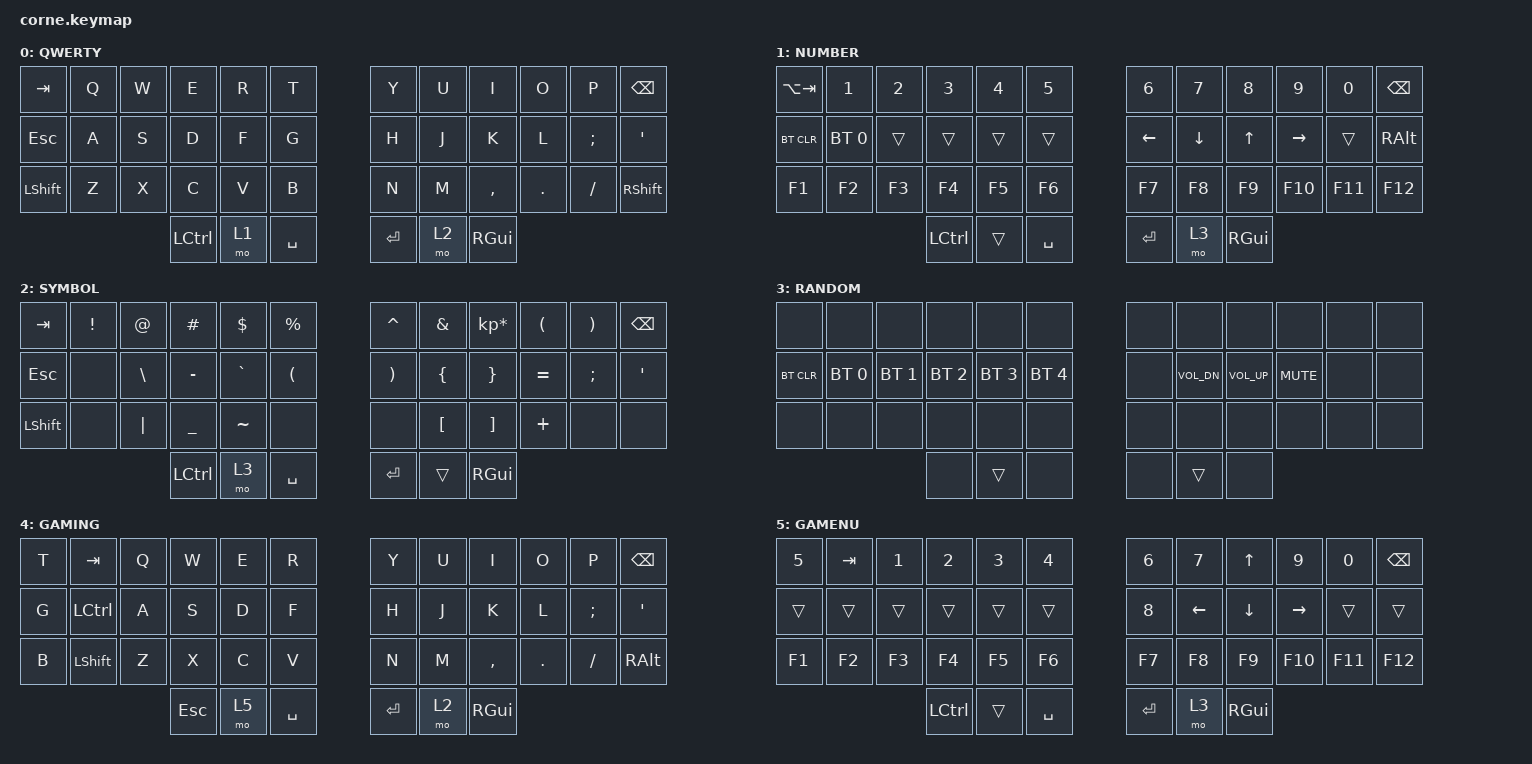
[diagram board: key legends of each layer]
/*
 * Copyright (c) 2020 The ZMK Contributors
 *
 * SPDX-License-Identifier: MIT
 */

#include <behaviors.dtsi>
#include <dt-bindings/zmk/keys.h>
#include <dt-bindings/zmk/bt.h>

/ {
        keymap {
                compatible = "zmk,keymap";

                default_layer {
// -----------------------------------------------------------------------------------------
// |  TAB |  Q  |  W  |  E  |  R  |  T  |   |  Y  |  U   |  I  |  O  |  P  | BKSP |
// | ESC  |  A  |  S  |  D  |  F  |  G  |   |  H  |  J   |  K  |  L  |  ;  |  '   |
// | SHFT |  Z  |  X  |  C  |  V  |  B  |   |  N  |  M   |  ,  |  .  |  /  | SHFT |
//                    | CTRL | LWR | SPC |   | ENT | RSE  | GUI |
                        label = "QWERTY";
                        bindings = <
   &kp TAB   &kp Q &kp W &kp E &kp R &kp T   &kp Y &kp U  &kp I     &kp O   &kp P    &kp BSPC
   &kp ESC   &kp A &kp S &kp D &kp F &kp G   &kp H &kp J  &kp K     &kp L   &kp SEMI &kp SQT
   &kp LSHFT &kp Z &kp X &kp C &kp V &kp B   &kp N &kp M  &kp COMMA &kp DOT &kp FSLH &kp RSHIFT
                  &kp LCTRL &mo 1 &kp SPACE   &kp RET &mo 2 &kp RGUI
                        >;
                };

                lower_layer {
// -----------------------------------------------------------------------------------------
// |alttab|  1  |  2  |  3  |  4  |  5  |   |  6  |  7  |  8  |  9  |  0  | BKSP |
// |      |     |     |     |     |     |   | LFT | DWN |  UP | RGT |     | ALT  |
// | F1   | F2  | F3  |  F4 | F5  | F6  |   | F7  | F8  |  F9 | F10 | F11 | F12  |
//                    | CTRL |     | SPC |   | ENT | BOTH | GUI |
                        label = "NUMBER";
                        bindings = <
   &kp LA(TAB) &kp N1       &kp N2       &kp N3        &kp N4      &kp N5      &kp N6   &kp N7   &kp N8 &kp N9     &kp N0  &kp BSPC
   &bt BT_CLR      &bt BT_SEL 0       &trans       &trans        &trans      &trans      &kp LEFT &kp DOWN &kp UP &kp RIGHT  &trans  &kp RALT
   &kp F1      &kp F2       &kp F3       &kp F4        &kp F5      &kp F6      &kp F7   &kp F8   &kp F9 &kp F10    &kp F11 &kp F12
                                        &kp LCTRL     &trans      &kp SPACE   &kp RET  &mo 3   &kp RGUI
                        >;
                };

                raise_layer {
// -----------------------------------------------------------------------------------------
// |  TAB |  !  |  @  |  #  |  $  |  %  |   |  ^  |  &  |  *  |  (  |  )  | BKSP |
// | ESC  |     |  \  |  -  |  `  |  (  |   |  )  |  {  |  }  |  =  |  ;  |  '   |
// | SHFT |     |  |  |  _  |  ~  |     |   |     |  [  |  ]  |  +  |     |      |
//                    | CTRL| BOTH| SPC |   | ENT |     | GUI |
                        label = "SYMBOL";
                        bindings = <
   &kp TAB   &kp EXCL &kp AT    &kp HASH  &kp DLLR  &kp PRCNT   &kp CARET &kp AMPS  &kp KP_MULTIPLY &kp LPAR  &kp RPAR  &kp BSPC
   &kp ESC   &none    &kp BSLH  &kp MINUS &kp GRAVE &kp LPAR    &kp RPAR  &kp LBRC  &kp RBRC        &kp EQUAL &kp SEMI  &kp SQT
   &kp LSHFT &none    &kp PIPE  &kp UNDER &kp TILDE &none       &none     &kp LBKT  &kp RBKT        &kp PLUS  &none     &none
                    	          &kp LCTRL &mo 3     &kp SPACE   &kp RET   &trans    &kp RGUI
                        >;
                };

                both_layer {

// -----------------------------------------------------------------------------------------
// |      |      |      |      |      |      |       |       |       |      |     |     |      |
// | BT_C | BT_0 | BT_1 | BT_2 | BT_3 | BT_3 | BT_4  | VOLDN | VOLUP | MUTE |     |     |      |
// |      |      |      |      |      | GAME |       |       |       |      |     |     |      |
//                      |      |      |      |       |       |       |      |

                        label = "RANDOM";
                        bindings = <
   &none      &none         &none         &none         &none         &none           &none &none         &none         &none       &none &none 
   &bt BT_CLR &bt BT_SEL 0  &bt BT_SEL 1  &bt BT_SEL 2  &bt BT_SEL 3  &bt BT_SEL 4    &none &kp C_VOL_DN  &kp C_VOL_UP  &kp C_MUTE  &none &none 
   &none      &none         &none         &none         &none         &none           &none &none         &none         &none       &none &none 
                                          &none         &trans        &none           &none &trans         &none 
                        >;
                };

                gamer_layer {
// -----------------------------------------------------------------------------------------
// |  T   |  TAB |  Q  |  W  |  E  |  R  |   |  Y  |  U   |  I  |  O  |  P  | BKSP |
// |  G   | LCTRL|  A  |  S  |  D  |  F  |   |  H  |  J   |  K  |  L  |  ;  |  '   |
// |  B   | SHFT |  Z  |  X  |  C  |  V  |   |  N  |  M   |  ,  |  .  |  /  | SHFT |
//                    | ESC  | LWR | SPC |   | ENT | RSE  | GUI |
                        label = "GAMING";
                        bindings = <
    &kp T &kp TAB &kp Q  &kp W  &kp E &kp R     &kp Y &kp U  &kp I     &kp O   &kp P    &kp BSPC
    &kp G &kp LCTRL &kp A &kp S &kp D &kp F     &kp H &kp J  &kp K     &kp L   &kp SEMI &kp SQT
    &kp B &kp LSHFT &kp Z &kp X &kp C &kp V     &kp N &kp M  &kp COMMA &kp DOT &kp FSLH &kp RALT   
              &kp ESC &mo 5 &kp SPACE   &kp RET &mo 2 &kp RGUI
                        >;
                };

                gamer_num_layer {
                      label = "GAMENU";
                      bindings = <
   &kp N5     &kp TAB     &kp N1       &kp N2        &kp N3      &kp N4         &kp N6   &kp N7   &kp UP    &kp N9     &kp N0  &kp BSPC
   &trans     &trans      &trans       &trans        &trans      &trans         &kp N8   &kp LEFT &kp DOWN  &kp RIGHT  &trans  &trans
   &kp F1     &kp F2      &kp F3       &kp F4        &kp F5      &kp F6         &kp F7   &kp F8   &kp F9    &kp F10    &kp F11 &kp F12
                                       &kp LCTRL     &trans      &kp SPACE      &kp RET  &mo 3    &kp RGUI
                        >;
                };
        };
};
